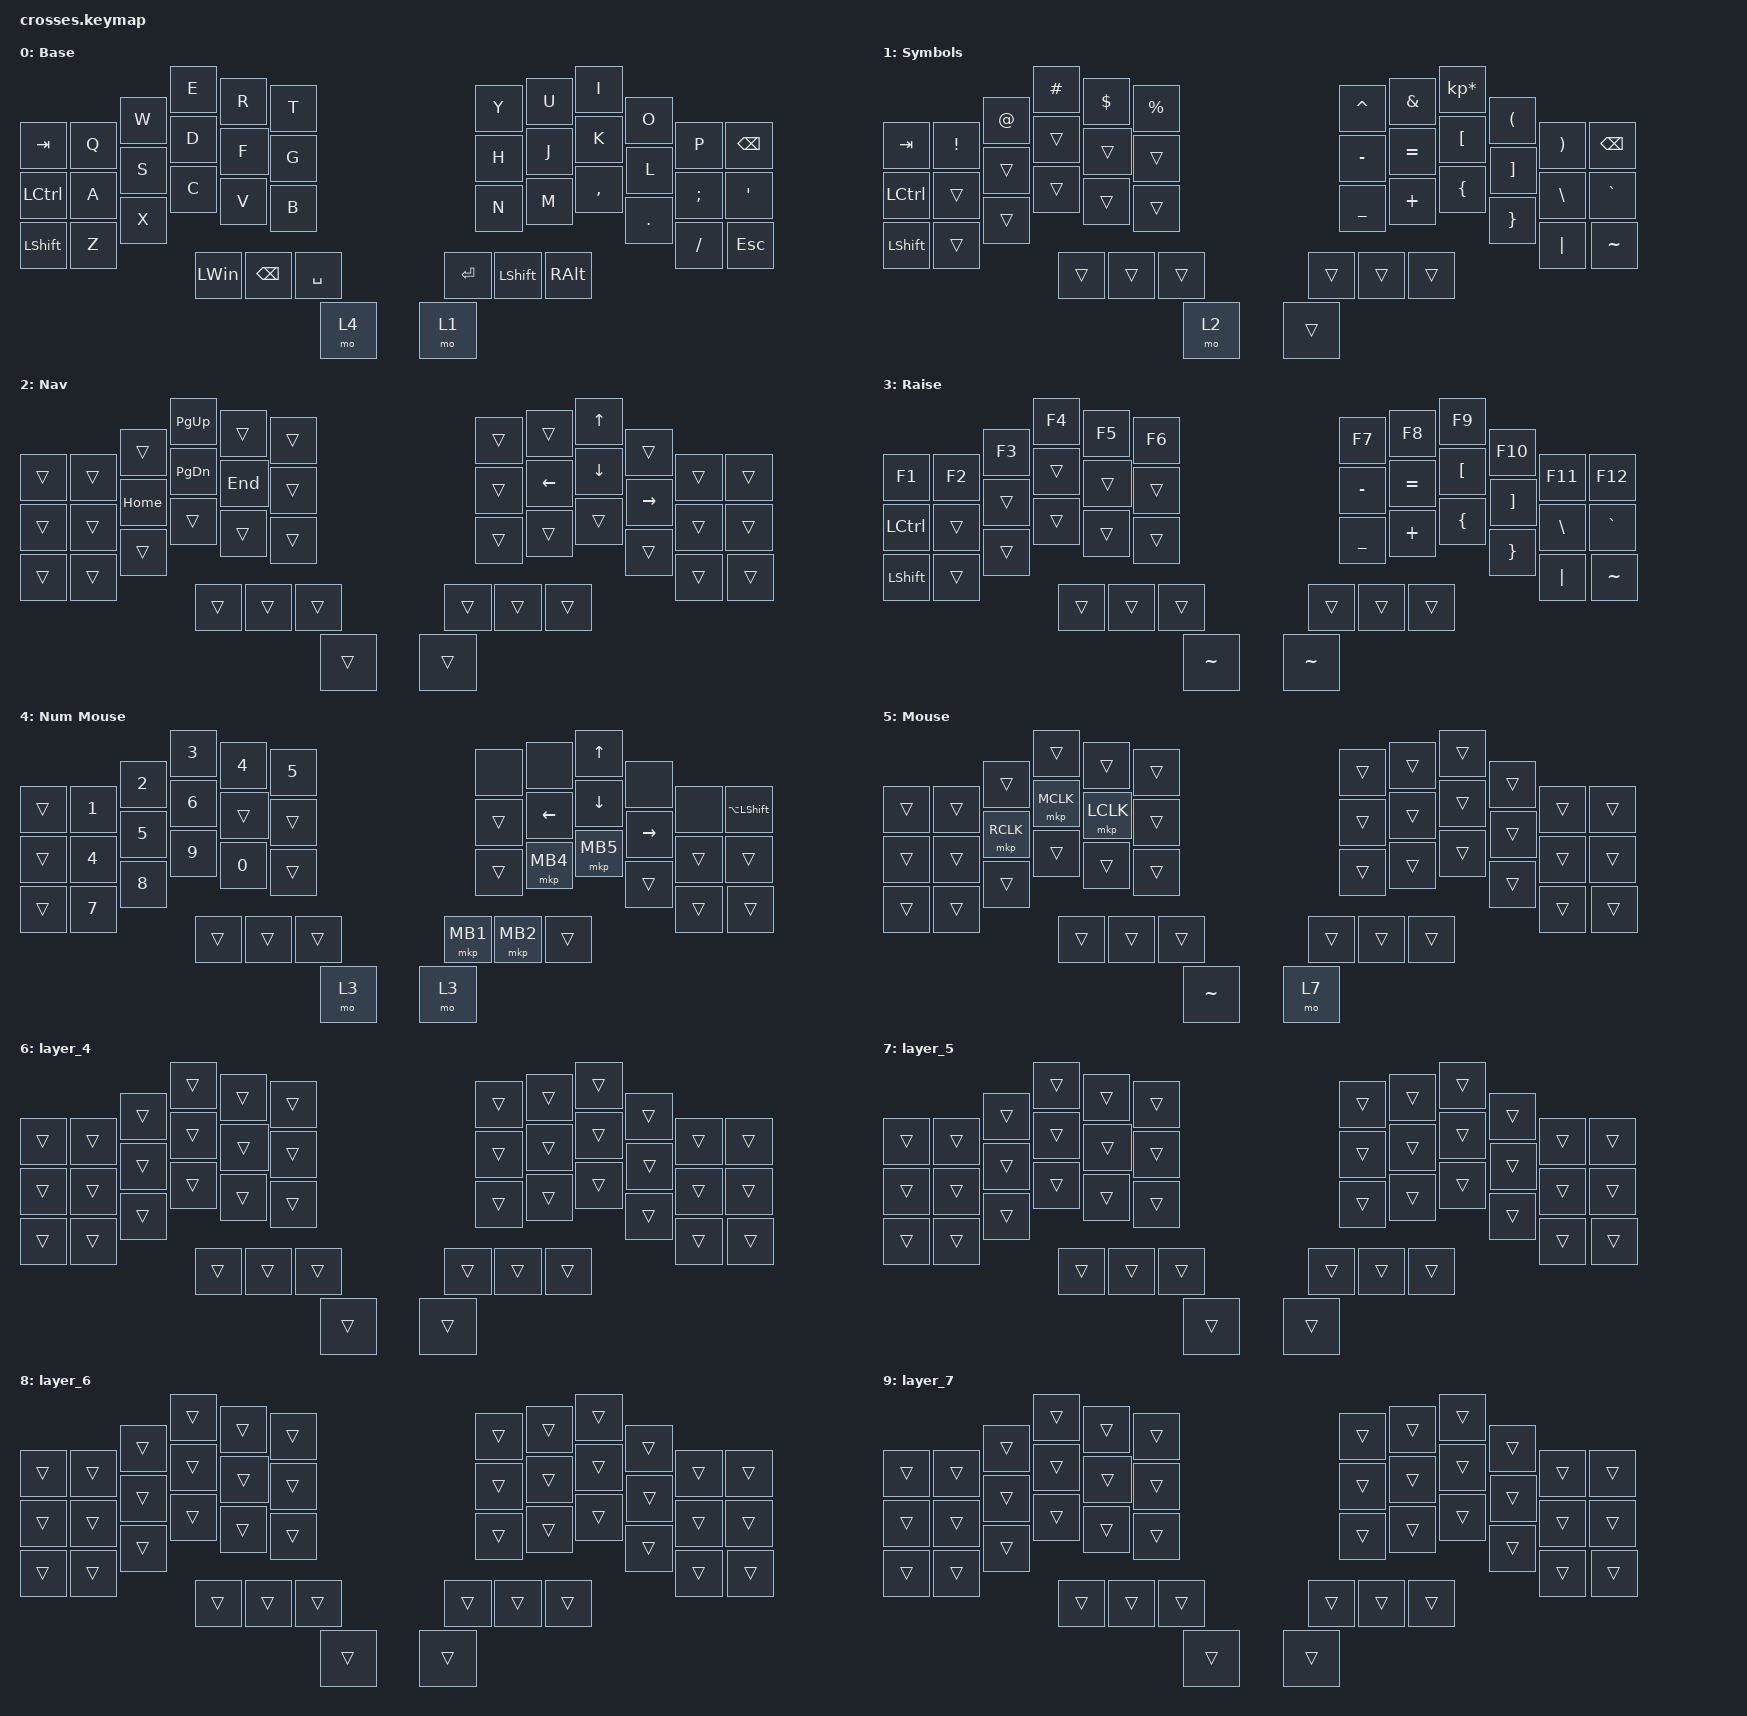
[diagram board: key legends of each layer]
#include <behaviors.dtsi>
#include <dt-bindings/zmk/keys.h>
#include <dt-bindings/zmk/pointing.h>

/ {
    chosen { zmk,physical-layout = &gggw_crosses_42_layout; };

    keymap {
        compatible = "zmk,keymap";

        default_layer {
            display-name = "Base";
            bindings = <
&kp TAB    &kp Q  &kp W  &kp E         &kp R          &kp T      &kp Y    &kp U           &kp I      &kp O    &kp P     &kp BSPC
&kp LCTRL  &kp A  &kp S  &kp D         &kp F          &kp G      &kp H    &kp J           &kp K      &kp L    &kp SEMI  &kp SQT
&kp LSHFT  &kp Z  &kp X  &kp C         &kp V          &kp B      &kp N    &kp M           &kp COMMA  &kp DOT  &kp FSLH  &kp ESC
                         &kp LEFT_WIN  &kp BACKSPACE  &kp SPACE  &kp RET  &kp LEFT_SHIFT  &kp RALT   &mo 4    &mo 1
            >;
        };

        symbols_layer {
            display-name = "Symbols";
            bindings = <
&kp TAB    &kp EXCL  &kp AT  &kp HASH  &kp DLLR  &kp PRCNT  &kp CARET  &kp AMPS   &kp KP_MULTIPLY  &kp LPAR  &kp RPAR  &kp BSPC
&kp LCTRL  &trans    &trans  &trans    &trans    &trans     &kp MINUS  &kp EQUAL  &kp LBKT         &kp RBKT  &kp BSLH  &kp GRAVE
&kp LSHFT  &trans    &trans  &trans    &trans    &trans     &kp UNDER  &kp PLUS   &kp LBRC         &kp RBRC  &kp PIPE  &kp TILDE
                             &trans    &trans    &trans     &trans     &trans     &trans           &mo 2     &trans
            >;
        };

        nav_layer {
            display-name = "Nav";
            bindings = <
&trans  &trans  &trans    &kp PG_UP  &trans   &trans  &trans  &trans    &kp UP    &trans     &trans  &trans
&trans  &trans  &kp HOME  &kp PG_DN  &kp END  &trans  &trans  &kp LEFT  &kp DOWN  &kp RIGHT  &trans  &trans
&trans  &trans  &trans    &trans     &trans   &trans  &trans  &trans    &trans    &trans     &trans  &trans
                          &trans     &trans   &trans  &trans  &trans    &trans    &trans     &trans
            >;
        };

        raise_layer {
            display-name = "Raise";
            bindings = <
&kp F1     &kp F2  &kp F3  &kp F4  &kp F5  &kp F6  &kp F7     &kp F8     &kp F9    &kp F10    &kp F11    &kp F12
&kp LCTRL  &trans  &trans  &trans  &trans  &trans  &kp MINUS  &kp EQUAL  &kp LBKT  &kp RBKT   &kp BSLH   &kp GRAVE
&kp LSHFT  &trans  &trans  &trans  &trans  &trans  &kp UNDER  &kp PLUS   &kp LBRC  &kp RBRC   &kp PIPE   &kp TILDE
                           &trans  &trans  &trans  &trans     &trans     &trans    &kp TILDE  &kp TILDE
            >;
        };

        NumbersMouse {
            display-name = "Num Mouse";
            bindings = <
&trans  &kp N1  &kp N2  &kp N3  &kp N4  &kp N5  &none     &none     &kp UP    &none      &none   &kp LA(LEFT_SHIFT)
&trans  &kp N4  &kp N5  &kp N6  &trans  &trans  &trans    &kp LEFT  &kp DOWN  &kp RIGHT  &trans  &trans
&trans  &kp N7  &kp N8  &kp N9  &kp N0  &trans  &trans    &mkp MB4  &mkp MB5  &trans     &trans  &trans
                        &trans  &trans  &trans  &mkp MB1  &mkp MB2  &trans    &mo 3      &mo 3
            >;
        };

        mouse_layer {
            display-name = "Mouse";
            bindings = <
&trans  &trans  &trans     &trans     &trans     &trans  &trans  &trans  &trans  &trans     &trans  &trans
&trans  &trans  &mkp RCLK  &mkp MCLK  &mkp LCLK  &trans  &trans  &trans  &trans  &trans     &trans  &trans
&trans  &trans  &trans     &trans     &trans     &trans  &trans  &trans  &trans  &trans     &trans  &trans
                           &trans     &trans     &trans  &trans  &trans  &trans  &kp TILDE  &mo 7
            >;
        };

        layer_4 {
            bindings = <
&trans  &trans  &trans  &trans  &trans  &trans  &trans  &trans  &trans  &trans  &trans  &trans
&trans  &trans  &trans  &trans  &trans  &trans  &trans  &trans  &trans  &trans  &trans  &trans
&trans  &trans  &trans  &trans  &trans  &trans  &trans  &trans  &trans  &trans  &trans  &trans
                        &trans  &trans  &trans  &trans  &trans  &trans  &trans  &trans
            >;
        };

        layer_5 {
            bindings = <
&trans  &trans  &trans  &trans  &trans  &trans  &trans  &trans  &trans  &trans  &trans  &trans
&trans  &trans  &trans  &trans  &trans  &trans  &trans  &trans  &trans  &trans  &trans  &trans
&trans  &trans  &trans  &trans  &trans  &trans  &trans  &trans  &trans  &trans  &trans  &trans
                        &trans  &trans  &trans  &trans  &trans  &trans  &trans  &trans
            >;
        };

        layer_6 {
            bindings = <
&trans  &trans  &trans  &trans  &trans  &trans  &trans  &trans  &trans  &trans  &trans  &trans
&trans  &trans  &trans  &trans  &trans  &trans  &trans  &trans  &trans  &trans  &trans  &trans
&trans  &trans  &trans  &trans  &trans  &trans  &trans  &trans  &trans  &trans  &trans  &trans
                        &trans  &trans  &trans  &trans  &trans  &trans  &trans  &trans
            >;
        };

        layer_7 {
            bindings = <
&trans  &trans  &trans  &trans  &trans  &trans  &trans  &trans  &trans  &trans  &trans  &trans
&trans  &trans  &trans  &trans  &trans  &trans  &trans  &trans  &trans  &trans  &trans  &trans
&trans  &trans  &trans  &trans  &trans  &trans  &trans  &trans  &trans  &trans  &trans  &trans
                        &trans  &trans  &trans  &trans  &trans  &trans  &trans  &trans
            >;
        };
    };
};
